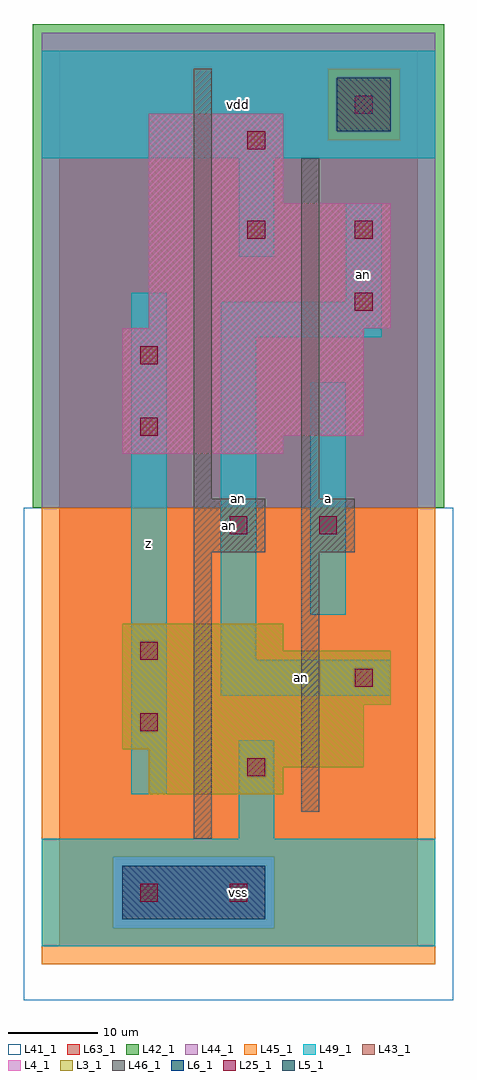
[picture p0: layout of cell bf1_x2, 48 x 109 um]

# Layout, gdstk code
import gdstk
lib = gdstk.Library(unit=1e-6, precision=1e-09)
def R(c, l, rs):  # rectangles x0, y0, x1, y1
    for r in rs: c.add(gdstk.rectangle(r[:2], r[2:], *l))
L3_1 = (3, 1)
L4_1 = (4, 1)
L5_1 = (5, 1)
L6_1 = (6, 1)
L25_1 = (25, 1)
L41_1 = (41, 1)
L42_1 = (42, 1)
L43_1 = (43, 1)
L44_1 = (44, 1)
L45_1 = (45, 1)
L46_1 = (46, 1)
L49_1 = (49, 1)
L63_1 = (63, 1)

bf1_x2 = lib.new_cell('bf1_x2')
R(bf1_x2, L3_1, [(10,17,25,20), (10,20,34,22), (7,22,34,27), (7,27,37,33), (7,33,25,36)])
R(bf1_x2, L4_1, [(7,55,25,57), (7,57,34,69), (10,69,37,83), (10,83,25,93)])
R(bf1_x2, L5_1, [(31,91,37,97)])
R(bf1_x2, L6_1, [(7,3,23,9)])
R(bf1_x2, L25_1, [(9,5,11,7), (19,5,21,7), (21,19,23,21), (9,24,11,26), (33,29,35,31), (9,32,11,34), (19,46,21,48), (29,46,31,48), (9,57,11,59), (9,65,11,67), (33,71,35,73), (21,79,23,81), (33,79,35,81), (21,89,23,91), (33,93,35,95)])
R(bf1_x2, L41_1, [(-4,-6,44,49), (-3,-3,43,49)])
R(bf1_x2, L42_1, [(-3,49,43,103)])
R(bf1_x2, L43_1, [(7,3,23,9), (10,17,25,20), (10,20,34,22), (7,22,34,27), (7,27,37,33), (7,33,25,36), (7,55,25,57), (7,57,34,69), (10,69,37,83), (10,83,25,93), (31,91,37,97)])
R(bf1_x2, L44_1, [(6,2,24,10), (-2,49,42,90), (-2,90,30,98), (38,90,42,98), (-2,98,42,102)])
R(bf1_x2, L45_1, [(-2,-2,42,2), (-2,2,6,10), (24,2,42,10), (-2,10,42,49), (30,90,38,98)])
R(bf1_x2, L46_1, [(15,12,17,44), (27,15,29,44), (15,44,23,50), (27,44,33,50), (15,50,17,98), (27,50,29,88)])
R(bf1_x2, L49_1, [(-2,0,42,12), (20,12,24,23), (8,17,12,73), (18,28,37,32), (18,32,22,68), (28,37,32,63), (18,68,36,72), (32,72,36,83), (20,77,24,88), (-2,88,42,100)])
R(bf1_x2, L63_1, [(0,0,40,100)])
bf1_x2.add(gdstk.Label('an', (19,47), layer=49, texttype=1))
bf1_x2.add(gdstk.Label('z', (10,45), layer=49, texttype=1))
bf1_x2.add(gdstk.Label('z', (10,45), layer=49, texttype=1))
bf1_x2.add(gdstk.Label('vss', (20,6), layer=49, texttype=1))
bf1_x2.add(gdstk.Label('vss', (20,6), layer=49, texttype=1))
bf1_x2.add(gdstk.Label('an', (20,50), layer=49, texttype=1))
bf1_x2.add(gdstk.Label('vdd', (20,94), layer=49, texttype=1))
bf1_x2.add(gdstk.Label('vdd', (20,94), layer=49, texttype=1))
bf1_x2.add(gdstk.Label('an', (27,30), layer=49, texttype=1))
bf1_x2.add(gdstk.Label('a', (30,50), layer=49, texttype=1))
bf1_x2.add(gdstk.Label('a', (30,50), layer=49, texttype=1))
bf1_x2.add(gdstk.Label('an', (34,75), layer=49, texttype=1))

lib.write_gds('bf1_x2.gds')
